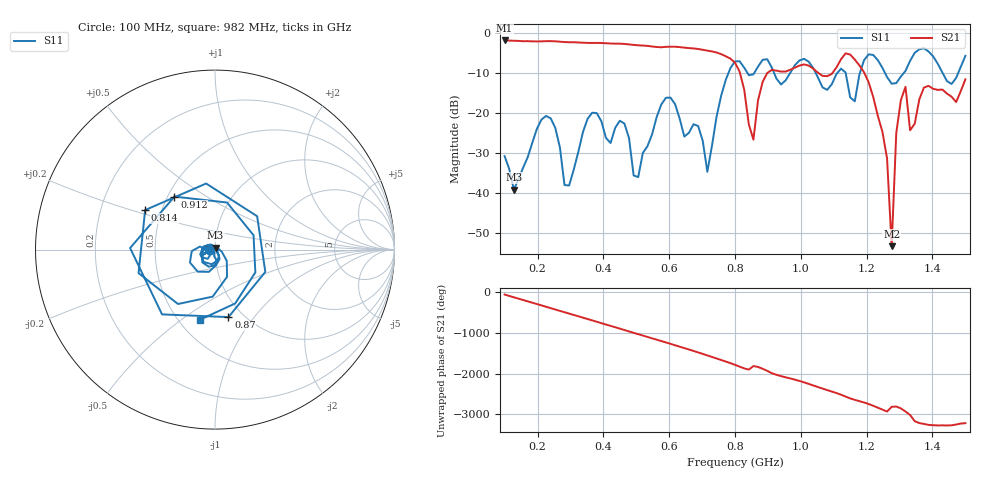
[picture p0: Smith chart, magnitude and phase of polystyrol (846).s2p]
! NanoVNA-App
! Date: 2025-09-25 15:36:28
! Start: 100MHz Stop: 1,5GHz Points: 101
! S-Parameter data: F S11 S21 S12 S22
# Hz S RI R 50
!  Frequency  S11_Real  S11_Imag  S21_Real  S21_Imag  S12_Real  S12_Imag  S22_Real  S22_Imag
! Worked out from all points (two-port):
!   101 points, 100 MHz to 1.5 GHz, reference 50 ohm
!   highest |S21| = -1.80 dB at 100 MHz (marker M1); lowest = -53.2 dB at 1.276 GHz (marker M2)
!   |S21| within 3 dB of the highest: start of sweep to 743.3 MHz
!   lowest |S11| = -39.1 dB at 128 MHz (marker M3), VSWR 1.02, Z = 50.3 + j1.06 ohm
!   |S11| at or under -10 dB: start of sweep to 779.8 MHz; 1.046 GHz to 1.11 GHz (64.66 MHz wide, 6 % of centre); 1.256 GHz to 1.312 GHz (55.88 MHz wide, 4.35 % of centre)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
!   S12 and S22 are empty: the file has one direction only
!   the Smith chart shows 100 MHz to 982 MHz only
!   S11 on the Smith chart (normalised r, x): 100 MHz: 0.94, -0.01; 814 MHz: 0.40, +0.22; 870 MHz: 0.86, -0.75; 912 MHz: 0.54, +0.37; 982 MHz: 0.63, -0.59
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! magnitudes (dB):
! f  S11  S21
! 100 MHz  -30.7  -1.8
! 128 MHz  -39.1  -1.9
! 212 MHz  -21.6  -2.0
! 282 MHz  -37.9  -2.2
! 338 MHz  -24.7  -2.4
! 506 MHz  -36.0  -3.0
! 576 MHz  -17.8  -3.5
! 716 MHz  -34.6  -4.3
! 800 MHz  -7.0  -7.3
! 814 MHz  -7.0  -9.6
! 856 MHz  -10.3  -26.6
! 870 MHz  -8.3  -16.8
! 912 MHz  -8.6  -9.1
! 982 MHz  -8.0  -8.6
! 1.038 GHz  -8.7  -8.9
! 1.206 GHz  -5.3  -12.2
! 1.262 GHz  -11.0  -31.3
! 1.276 GHz  -12.6  -53.2
! 1.29 GHz  -12.5  -24.9
! 1.318 GHz  -9.4  -13.4
! 1.332 GHz  -6.9  -24.2
! 1.5 GHz  -5.6  -11.5
